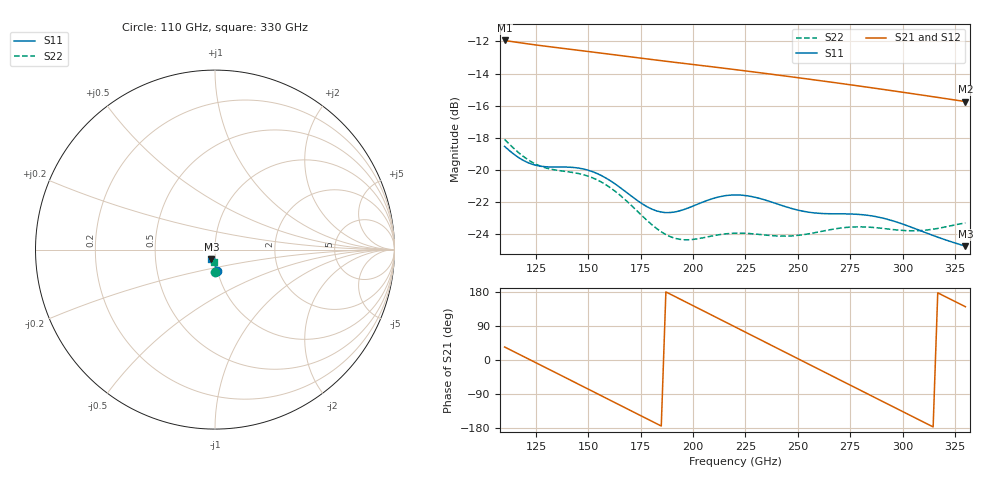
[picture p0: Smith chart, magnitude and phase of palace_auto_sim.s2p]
#  GHZ S DB R 50
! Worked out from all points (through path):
!   101 points, 110 GHz to 330 GHz, reference 50 ohm
!   highest |S21| = -11.94 dB at 110 GHz (marker M1); lowest = -15.7 dB at 330 GHz (marker M2)
!   group delay of S21, straight-line fit = 7.76 ps
!   lowest |S11| = -24.8 dB at 330 GHz (marker M3), VSWR 1.12, Z = 47.8 - j5.22 ohm
!   |S11| at or under -10 dB: start of sweep to end of sweep
!   |S22| runs from -24.4 to -18.1 dB; largest |S21 - S12| = 2.8e-13
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110  -18.54 -85.1  -11.94 34.3  -11.94 34.3  -18.10 -89.4
118.8  -19.40 -83.5  -12.11 9.9  -12.11 9.9  -19.15 -89.1
127.6  -19.78 -81.3  -12.27 -14.6  -12.27 -14.6  -19.79 -87.5
138.6  -19.83 -81.4  -12.45 -45.2  -12.45 -45.2  -20.09 -87.3
147.4  -19.94 -84.1  -12.59 -69.8  -12.59 -69.8  -20.30 -89.6
156.2  -20.35 -87.6  -12.73 -94.4  -12.73 -94.4  -20.76 -93.3
165  -21.09 -90.1  -12.88 -119.0  -12.88 -119.0  -21.57 -96.5
176  -22.14 -89.4  -13.06 -149.7  -13.06 -149.7  -22.90 -97.3
184.8  -22.63 -85.8  -13.20 -174.3  -13.20 -174.3  -23.86 -94.3
193.6  -22.55 -82.2  -13.34 161.2  -13.34 161.2  -24.33 -89.3
204.6  -22.01 -81.5  -13.51 130.5  -13.51 130.5  -24.23 -84.8
220  -21.56 -86.7  -13.76 87.4  -13.76 87.4  -23.94 -84.2
228.8  -21.69 -90.6  -13.90 62.8  -13.90 62.8  -23.99 -84.8
239.8  -22.11 -94.0  -14.09 32.0  -14.09 32.0  -24.11 -84.6
248.6  -22.46 -95.3  -14.24 7.5  -14.24 7.5  -24.10 -83.8
257.4  -22.67 -95.8  -14.39 -17.1  -14.39 -17.1  -23.93 -83.5
268.4  -22.74 -97.0  -14.58 -47.8  -14.58 -47.8  -23.66 -84.7
277.2  -22.76 -99.1  -14.74 -72.4  -14.74 -72.4  -23.55 -86.7
286  -22.88 -101.8  -14.90 -96.9  -14.90 -96.9  -23.59 -88.7
294.8  -23.15 -104.6  -15.07 -121.5  -15.07 -121.5  -23.71 -90.0
312.4  -23.98 -108.4  -15.40 -170.5  -15.40 -170.5  -23.73 -90.7
330  -24.75 -109.8  -15.75 140.6  -15.75 140.6  -23.30 -93.7
